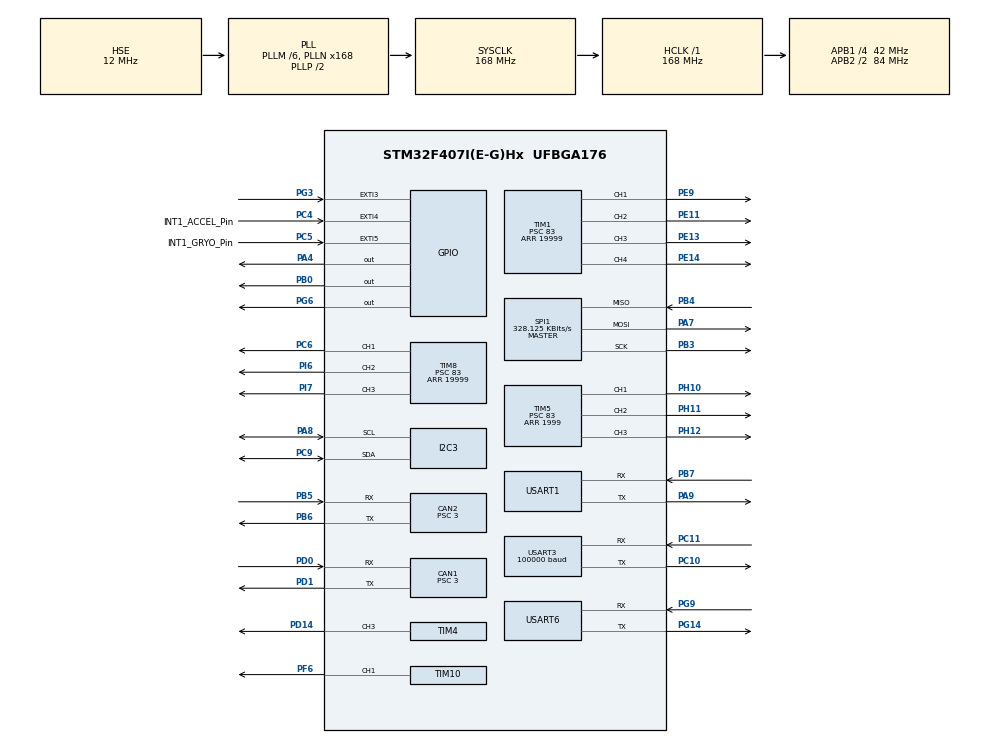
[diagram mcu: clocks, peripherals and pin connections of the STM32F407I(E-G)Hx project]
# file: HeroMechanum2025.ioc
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CAN1.BS1=CAN_BS1_10TQ
CAN1.BS2=CAN_BS2_3TQ
CAN1.CalculateBaudRate=1000000
CAN1.CalculateTimeBit=1000
CAN1.CalculateTimeQuantum=71.42857142857143
CAN1.Prescaler=3
CAN2.BS1=CAN_BS1_10TQ
CAN2.BS2=CAN_BS2_3TQ
CAN2.CalculateBaudRate=1000000
CAN2.CalculateTimeBit=1000
CAN2.CalculateTimeQuantum=71.42857142857143
CAN2.Prescaler=3
Dma.Request0=USART3_RX
Dma.Request1=USART1_TX
Dma.Request2=USART1_RX
Dma.Request3=USART6_RX
Dma.Request4=USART6_TX
Dma.Request5=TIM4_CH3
Dma.Request6=TIM5_CH1
Dma.Request7=TIM5_CH2
Dma.TIM4_CH3.5.Direction=DMA_PERIPH_TO_MEMORY
Dma.TIM4_CH3.5.FIFOMode=DMA_FIFOMODE_DISABLE
Dma.TIM4_CH3.5.Instance=DMA1_Stream7
Dma.TIM4_CH3.5.MemDataAlignment=DMA_MDATAALIGN_HALFWORD
Dma.TIM4_CH3.5.MemInc=DMA_MINC_ENABLE
Dma.TIM4_CH3.5.Mode=DMA_NORMAL
Dma.TIM4_CH3.5.PeriphDataAlignment=DMA_PDATAALIGN_HALFWORD
Dma.TIM4_CH3.5.PeriphInc=DMA_PINC_DISABLE
Dma.TIM4_CH3.5.Priority=DMA_PRIORITY_LOW
Dma.TIM5_CH1.6.Direction=DMA_PERIPH_TO_MEMORY
Dma.TIM5_CH1.6.FIFOMode=DMA_FIFOMODE_DISABLE
Dma.TIM5_CH1.6.Instance=DMA1_Stream2
Dma.TIM5_CH1.6.MemDataAlignment=DMA_MDATAALIGN_WORD
Dma.TIM5_CH1.6.MemInc=DMA_MINC_ENABLE
Dma.TIM5_CH1.6.Mode=DMA_NORMAL
Dma.TIM5_CH1.6.PeriphDataAlignment=DMA_PDATAALIGN_WORD
Dma.TIM5_CH1.6.PeriphInc=DMA_PINC_DISABLE
Dma.TIM5_CH1.6.Priority=DMA_PRIORITY_LOW
Dma.TIM5_CH2.7.Direction=DMA_PERIPH_TO_MEMORY
Dma.TIM5_CH2.7.FIFOMode=DMA_FIFOMODE_DISABLE
Dma.TIM5_CH2.7.Instance=DMA1_Stream4
Dma.TIM5_CH2.7.MemDataAlignment=DMA_MDATAALIGN_WORD
Dma.TIM5_CH2.7.MemInc=DMA_MINC_ENABLE
Dma.TIM5_CH2.7.Mode=DMA_NORMAL
Dma.TIM5_CH2.7.PeriphDataAlignment=DMA_PDATAALIGN_WORD
Dma.TIM5_CH2.7.PeriphInc=DMA_PINC_DISABLE
Dma.TIM5_CH2.7.Priority=DMA_PRIORITY_LOW
Dma.USART1_RX.2.Direction=DMA_PERIPH_TO_MEMORY
Dma.USART1_RX.2.FIFOMode=DMA_FIFOMODE_DISABLE
Dma.USART1_RX.2.Instance=DMA2_Stream2
Dma.USART1_RX.2.MemDataAlignment=DMA_MDATAALIGN_BYTE
Dma.USART1_RX.2.MemInc=DMA_MINC_ENABLE
Dma.USART1_RX.2.Mode=DMA_NORMAL
Dma.USART1_RX.2.PeriphDataAlignment=DMA_PDATAALIGN_BYTE
Dma.USART1_RX.2.PeriphInc=DMA_PINC_DISABLE
Dma.USART1_RX.2.Priority=DMA_PRIORITY_VERY_HIGH
Dma.USART1_TX.1.Direction=DMA_MEMORY_TO_PERIPH
Dma.USART1_TX.1.FIFOMode=DMA_FIFOMODE_DISABLE
Dma.USART1_TX.1.Instance=DMA2_Stream7
Dma.USART1_TX.1.MemDataAlignment=DMA_MDATAALIGN_BYTE
Dma.USART1_TX.1.MemInc=DMA_MINC_ENABLE
Dma.USART1_TX.1.Mode=DMA_NORMAL
Dma.USART1_TX.1.PeriphDataAlignment=DMA_PDATAALIGN_BYTE
Dma.USART1_TX.1.PeriphInc=DMA_PINC_DISABLE
Dma.USART1_TX.1.Priority=DMA_PRIORITY_VERY_HIGH
Dma.USART3_RX.0.Direction=DMA_PERIPH_TO_MEMORY
Dma.USART3_RX.0.FIFOMode=DMA_FIFOMODE_DISABLE
Dma.USART3_RX.0.Instance=DMA1_Stream1
Dma.USART3_RX.0.MemDataAlignment=DMA_MDATAALIGN_BYTE
Dma.USART3_RX.0.MemInc=DMA_MINC_ENABLE
Dma.USART3_RX.0.Mode=DMA_CIRCULAR
Dma.USART3_RX.0.PeriphDataAlignment=DMA_PDATAALIGN_BYTE
Dma.USART3_RX.0.PeriphInc=DMA_PINC_DISABLE
Dma.USART3_RX.0.Priority=DMA_PRIORITY_VERY_HIGH
Dma.USART6_RX.3.Direction=DMA_PERIPH_TO_MEMORY
Dma.USART6_RX.3.FIFOMode=DMA_FIFOMODE_DISABLE
Dma.USART6_RX.3.Instance=DMA2_Stream1
Dma.USART6_RX.3.MemDataAlignment=DMA_MDATAALIGN_BYTE
Dma.USART6_RX.3.MemInc=DMA_MINC_ENABLE
Dma.USART6_RX.3.Mode=DMA_NORMAL
Dma.USART6_RX.3.PeriphDataAlignment=DMA_PDATAALIGN_BYTE
Dma.USART6_RX.3.PeriphInc=DMA_PINC_DISABLE
Dma.USART6_RX.3.Priority=DMA_PRIORITY_VERY_HIGH
Dma.USART6_TX.4.Direction=DMA_MEMORY_TO_PERIPH
Dma.USART6_TX.4.FIFOMode=DMA_FIFOMODE_DISABLE
Dma.USART6_TX.4.Instance=DMA2_Stream6
Dma.USART6_TX.4.MemDataAlignment=DMA_MDATAALIGN_BYTE
Dma.USART6_TX.4.MemInc=DMA_MINC_ENABLE
Dma.USART6_TX.4.Mode=DMA_NORMAL
Dma.USART6_TX.4.PeriphDataAlignment=DMA_PDATAALIGN_BYTE
Dma.USART6_TX.4.PeriphInc=DMA_PINC_DISABLE
Dma.USART6_TX.4.Priority=DMA_PRIORITY_VERY_HIGH
FREERTOS.INCLUDE_pcTaskGetTaskName=1
FREERTOS.INCLUDE_xTaskGetHandle=1
FREERTOS.Tasks01=defaultTask,32,1024,TaskMain,Default,NULL,Dynamic,NULL,NULL;chassisTask,40,1124,TaskChassis,Default,NULL,Dynamic,NULL,NULL;IMUtempPIDtask,24,512,imu_temp_control_task,As weak,NULL,Dynamic,NULL,NULL;turretTask,40,1024,TaskTurret,Default,NULL,Dynamic,NULL,NULL
FREERTOS.configUSE_NEWLIB_REENTRANT=1
I2C3.I2C_Mode=I2C_Fast
Mcu.Family=STM32F4
Mcu.Name=STM32F407I(E-G)Hx
Mcu.Package=UFBGA176
NVIC.CAN1_RX0_IRQn=true\:5\:0\:false\:false\:true\:true\:true\:true\:true
NVIC.CAN2_RX0_IRQn=true\:5\:0\:false\:false\:true\:true\:true\:true\:true
NVIC.DMA1_Stream1_IRQn=true\:5\:0\:false\:false\:true\:true\:false\:true\:true
NVIC.DMA1_Stream2_IRQn=true\:5\:0\:false\:false\:true\:true\:false\:true\:true
NVIC.DMA1_Stream4_IRQn=true\:5\:0\:false\:false\:true\:true\:false\:true\:true
NVIC.DMA1_Stream7_IRQn=true\:5\:0\:false\:false\:true\:true\:false\:true\:true
NVIC.DMA2_Stream1_IRQn=true\:5\:0\:false\:false\:true\:true\:false\:true\:true
NVIC.DMA2_Stream2_IRQn=true\:5\:0\:false\:false\:true\:true\:false\:true\:true
NVIC.DMA2_Stream6_IRQn=true\:5\:0\:false\:false\:true\:true\:false\:true\:true
NVIC.DMA2_Stream7_IRQn=true\:5\:0\:false\:false\:true\:true\:false\:true\:true
NVIC.EXTI3_IRQn=true\:5\:0\:false\:false\:true\:true\:true\:true\:true
NVIC.EXTI4_IRQn=true\:5\:0\:false\:false\:true\:true\:true\:true\:true
NVIC.PriorityGroup=NVIC_PRIORITYGROUP_4
NVIC.USART1_IRQn=true\:5\:0\:false\:false\:true\:true\:true\:true\:true
NVIC.USART3_IRQn=true\:5\:0\:false\:false\:false\:true\:true\:true\:true
NVIC.USART6_IRQn=true\:5\:0\:false\:false\:true\:true\:true\:true\:true
PA13.Mode=Serial_Wire
PA13.Signal=SYS_JTMS-SWDIO
PA14.Mode=Serial_Wire
PA14.Signal=SYS_JTCK-SWCLK
PA4.Signal=GPIO_Output
PA7.Mode=Full_Duplex_Master
PA7.Signal=SPI1_MOSI
PA8.Mode=I2C
PA8.Signal=I2C3_SCL
PA9.Mode=Asynchronous
PA9.Signal=USART1_TX
PB0.Signal=GPIO_Output
PB3.Mode=Full_Duplex_Master
PB3.Signal=SPI1_SCK
PB4.Mode=Full_Duplex_Master
PB4.Signal=SPI1_MISO
PB5.Mode=CAN_Activate
PB5.Signal=CAN2_RX
PB6.Mode=CAN_Activate
PB6.Signal=CAN2_TX
PB7.Mode=Asynchronous
PB7.Signal=USART1_RX
PC10.Mode=Asynchronous
PC10.Signal=USART3_TX
PC11.Mode=Asynchronous
PC11.Signal=USART3_RX
PC4.GPIO_Label=INT1_ACCEL_Pin
PC4.Signal=GPXTI4
PC5.GPIO_Label=INT1_GRYO_Pin
PC5.Signal=GPXTI5
PC6.Signal=S_TIM8_CH1
PC9.Mode=I2C
PC9.Signal=I2C3_SDA
PD0.Mode=CAN_Activate
PD0.Signal=CAN1_RX
PD1.Mode=CAN_Activate
PD1.Signal=CAN1_TX
PD14.Signal=S_TIM4_CH3
PE11.Signal=S_TIM1_CH2
PE13.Signal=S_TIM1_CH3
PE14.Signal=S_TIM1_CH4
PE9.Signal=S_TIM1_CH1
PF6.GPIO_PuPd=GPIO_PULLUP
PF6.GPIO_Speed=GPIO_SPEED_FREQ_HIGH
PF6.Signal=S_TIM10_CH1
PG14.Mode=Asynchronous
PG14.Signal=USART6_TX
PG3.Signal=GPXTI3
PG6.Signal=GPIO_Output
PG9.Mode=Asynchronous
PG9.Signal=USART6_RX
PH0-OSC_IN.Mode=HSE-External-Oscillator
PH0-OSC_IN.Signal=RCC_OSC_IN
PH1-OSC_OUT.Mode=HSE-External-Oscillator
PH1-OSC_OUT.Signal=RCC_OSC_OUT
PH10.Signal=S_TIM5_CH1
PH11.Signal=S_TIM5_CH2
PH12.Signal=S_TIM5_CH3
PI6.Signal=S_TIM8_CH2
PI7.Signal=S_TIM8_CH3
ProjectManager.HeapSize=0x200
ProjectManager.StackSize=0x400
ProjectManager.TargetToolchain=STM32CubeIDE
RCC.48MHZClocksFreq_Value=84000000
RCC.AHBFreq_Value=168000000
RCC.APB1CLKDivider=RCC_HCLK_DIV4
RCC.APB1Freq_Value=42000000
RCC.APB1TimFreq_Value=84000000
RCC.APB2CLKDivider=RCC_HCLK_DIV2
RCC.APB2Freq_Value=84000000
RCC.APB2TimFreq_Value=168000000
RCC.CortexFreq_Value=168000000
RCC.EnbaleCSS=true
RCC.HCLKFreq_Value=168000000
RCC.HSE_VALUE=12000000
RCC.HSI_VALUE=16000000
RCC.LSE_VALUE=32768
RCC.PLLM=6
RCC.PLLN=168
RCC.PLLSourceVirtual=RCC_PLLSOURCE_HSE
RCC.SYSCLKFreq_VALUE=168000000
RCC.SYSCLKSource=RCC_SYSCLKSOURCE_PLLCLK
RCC.VCOOutputFreq_Value=336000000
SH.S_TIM10_CH1.0=TIM10_CH1,PWM Generation1 CH1
SH.S_TIM1_CH1.0=TIM1_CH1,PWM Generation1 CH1
SH.S_TIM1_CH2.0=TIM1_CH2,PWM Generation2 CH2
SH.S_TIM1_CH3.0=TIM1_CH3,PWM Generation3 CH3
SH.S_TIM1_CH4.0=TIM1_CH4,PWM Generation4 CH4
SH.S_TIM4_CH3.0=TIM4_CH3,PWM Generation3 CH3
SH.S_TIM5_CH1.0=TIM5_CH1,PWM Generation1 CH1
SH.S_TIM5_CH2.0=TIM5_CH2,PWM Generation2 CH2
SH.S_TIM5_CH3.0=TIM5_CH3,PWM Generation3 CH3
SH.S_TIM8_CH1.0=TIM8_CH1,PWM Generation1 CH1
SH.S_TIM8_CH2.0=TIM8_CH2,PWM Generation2 CH2
SH.S_TIM8_CH3.0=TIM8_CH3,PWM Generation3 CH3
SPI1.BaudRatePrescaler=SPI_BAUDRATEPRESCALER_256
SPI1.CLKPhase=SPI_PHASE_2EDGE
SPI1.CLKPolarity=SPI_POLARITY_HIGH
SPI1.CalculateBaudRate=328.125 KBits/s
SPI1.Direction=SPI_DIRECTION_2LINES
SPI1.Mode=SPI_MODE_MASTER
SPI1.VirtualType=VM_MASTER
TIM1.AutoReloadPreload=TIM_AUTORELOAD_PRELOAD_DISABLE
TIM1.Channel-PWM\ Generation1\ CH1=TIM_CHANNEL_1
TIM1.Channel-PWM\ Generation2\ CH2=TIM_CHANNEL_2
TIM1.Channel-PWM\ Generation3\ CH3=TIM_CHANNEL_3
TIM1.Channel-PWM\ Generation4\ CH4=TIM_CHANNEL_4
TIM1.Period=19999
TIM1.Prescaler=83
TIM1.Pulse-PWM\ Generation1\ CH1=0
TIM10.Channel=TIM_CHANNEL_1
TIM10.Period=4999
TIM4.AutoReloadPreload=TIM_AUTORELOAD_PRELOAD_ENABLE
TIM4.Channel-PWM\ Generation3\ CH3=TIM_CHANNEL_3
TIM4.Period=20999
TIM4.Prescaler=83
TIM4.Pulse-PWM\ Generation3\ CH3=10499
TIM5.Channel-PWM\ Generation1\ CH1=TIM_CHANNEL_1
TIM5.Channel-PWM\ Generation2\ CH2=TIM_CHANNEL_2
TIM5.Channel-PWM\ Generation3\ CH3=TIM_CHANNEL_3
TIM5.Period=1999
TIM5.Prescaler=83
TIM8.AutoReloadPreload=TIM_AUTORELOAD_PRELOAD_ENABLE
TIM8.Channel-PWM\ Generation1\ CH1=TIM_CHANNEL_1
TIM8.Channel-PWM\ Generation2\ CH2=TIM_CHANNEL_2
TIM8.Channel-PWM\ Generation3\ CH3=TIM_CHANNEL_3
TIM8.Period=19999
TIM8.Prescaler=83
USART1.VirtualMode=VM_ASYNC
USART3.BaudRate=100000
USART3.Parity=PARITY_EVEN
USART3.VirtualMode=VM_ASYNC
USART6.VirtualMode=VM_ASYNC
VP_FREERTOS_VS_CMSIS_V2.Mode=CMSIS_V2
VP_TIM10_VS_ClockSourceINT.Mode=Enable_Timer
VP_TIM4_VS_ClockSourceINT.Mode=Internal
board=custom

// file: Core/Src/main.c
/* USER CODE BEGIN Header */
/**
  ******************************************************************************
  * @file           : main.c
  * @brief          : Main program body
  ******************************************************************************
  * @attention
  *
  * Copyright (c) 2024 STMicroelectronics.
  * All rights reserved.
  *
  * This software is licensed under terms that can be found in the LICENSE file
  * in the root directory of this software component.
  * If no LICENSE file comes with this software, it is provided AS-IS.
  *
  ******************************************************************************
  */
/* USER CODE END Header */
#include "main.h"
#include "cmsis_os.h"

/* USER CODE BEGIN Includes */
//#include "CAN_receive.h"
#include "CAN.h"
#include "bsp_can.h"
#include "remote_control.h"
#include "bsp_rc.h"
#include "UART.h"
#include "stdio.h"
#include "stdarg.h"
#include "string.h"
#include "BMI088driver.h"
#include "pid.h"
#include "bsp_imu_pwm.h"
#include "ist8310driver.h"
#include "pwm.h"
#include "songs.h"
#include "buffer.h"
#include "math.h"
#include "driving.h"
#include "I2C.h"
/* USER CODE END Includes */

CAN_HandleTypeDef hcan1;
CAN_HandleTypeDef hcan2;

I2C_HandleTypeDef hi2c3;

SPI_HandleTypeDef hspi1;

TIM_HandleTypeDef htim1;
TIM_HandleTypeDef htim4;
TIM_HandleTypeDef htim5;
TIM_HandleTypeDef htim8;
TIM_HandleTypeDef htim10;
DMA_HandleTypeDef hdma_tim4_ch3;
DMA_HandleTypeDef hdma_tim5_ch1;
DMA_HandleTypeDef hdma_tim5_ch2;

UART_HandleTypeDef huart1;
UART_HandleTypeDef huart3;
UART_HandleTypeDef huart6;
DMA_HandleTypeDef hdma_usart1_tx;
DMA_HandleTypeDef hdma_usart1_rx;
DMA_HandleTypeDef hdma_usart3_rx;
DMA_HandleTypeDef hdma_usart6_rx;
DMA_HandleTypeDef hdma_usart6_tx;

/* Definitions for defaultTask */
osThreadId_t defaultTaskHandle;
const osThreadAttr_t defaultTask_attributes = {
  .name = "defaultTask",
  .stack_size = 1024 * 4,
  .priority = (osPriority_t) osPriorityAboveNormal,
};
/* Definitions for chassisTask */
osThreadId_t chassisTaskHandle;
const osThreadAttr_t chassisTask_attributes = {
  .name = "chassisTask",
  .stack_size = 1124 * 4,
  .priority = (osPriority_t) osPriorityHigh,
};
/* Definitions for IMUtempPIDtask */
osThreadId_t IMUtempPIDtaskHandle;
const osThreadAttr_t IMUtempPIDtask_attributes = {
  .name = "IMUtempPIDtask",
  .stack_size = 512 * 4,
  .priority = (osPriority_t) osPriorityNormal,
};
/* Definitions for turretTask */
osThreadId_t turretTaskHandle;
const osThreadAttr_t turretTask_attributes = {
  .name = "turretTask",
  .stack_size = 1024 * 4,
  .priority = (osPriority_t) osPriorityHigh,
};
/* USER CODE BEGIN PV */
const RC_ctrl_t *local_rc_ctrl;
//3.6 0.015, 4.2
PID_preset_t chassisPreset = {3.6, 0, 0};  //0.8f, 0.025f, 0.95f   {1.6, 0.045, 0.10}; 32 0.4
PID_preset_t yawPresetCurrentRPM = {46, 10.0, 16.4};

PID_preset_t yawPresetVoltageRPM = {25.0, 0.0, 0.0};

PID_preset_t yawPresetCurrentPosition = {12, 1, 0.0};
PID_preset_t yawPresetVoltagePosition = {36, 0.3, 0.0};

int16_t joystickTunner = 0;

// 50, 0, 110
PID_preset_t pitchPresetVoltagePosition = {70.0, 0.0, 421.0};
PID_preset_t indexerPreset = {1.1f, 0.02f, -2.4f};
PID_preset_t shooterPreset = {1.20f, 0.12f, 1.60f};
PID_preset_t powerPreset = {0, 0.000000000001, 0};
PID_preset_t flywheel = {12, 0, 0};
PID_preset_t customPreset = {0, 0, 0};

const int16_t maxValAllowed = 800;

extern game_status_t game_status;
extern power_heat_data_t power_heat_data;
extern robot_status_t robot_status;
extern pc_control_t pc_control;

float calcChassisPower = 0;

/* USER CODE END PV */

void SystemClock_Config(void);
static void MX_GPIO_Init(void);
static void MX_DMA_Init(void);
static void MX_CAN1_Init(void);
static void MX_CAN2_Init(void);
static void MX_SPI1_Init(void);
static void MX_TIM4_Init(void);
static void MX_USART1_UART_Init(void);
static void MX_USART6_UART_Init(void);
static void MX_TIM1_Init(void);
static void MX_TIM8_Init(void);
static void MX_USART3_UART_Init(void);
static void MX_TIM10_Init(void);
static void MX_I2C3_Init(void);
static void MX_TIM5_Init(void);
void TaskMain(void *argument);
void TaskChassis(void *argument);
void imu_temp_control_task(void *argument);
void TaskTurret(void *argument);

int main(void)
{

  /* MCU Configuration--------------------------------------------------------*/

  /* Reset of all peripherals, Initializes the Flash interface and the Systick. */
  HAL_Init();

  /* Configure the system clock */
  SystemClock_Config();

  /* Initialize all configured peripherals */
  MX_GPIO_Init();
  MX_DMA_Init();
  MX_CAN1_Init();
  MX_CAN2_Init();
  MX_SPI1_Init();
  MX_TIM4_Init();
  MX_USART1_UART_Init();
  MX_USART6_UART_Init();
  MX_TIM1_Init();
  MX_TIM8_Init();
  MX_USART3_UART_Init();
  MX_TIM10_Init();
  MX_I2C3_Init();
  MX_TIM5_Init();
  /* USER CODE BEGIN 2 */
  can_filter_init();
  remote_control_init();
  usart_Init();
  local_rc_ctrl = get_remote_control_point();
  //__HAL_UART_ENABLE_IT(&huart1,UART_IT_IDLE);
  /* USER CODE END 2 */

  /* Init scheduler */
  osKernelInitialize();

  /* Create the thread(s) */
  /* creation of defaultTask */
  defaultTaskHandle = osThreadNew(TaskMain, NULL, &defaultTask_attributes);

  /* creation of chassisTask */
  chassisTaskHandle = osThreadNew(TaskChassis, NULL, &chassisTask_attributes);

  /* creation of IMUtempPIDtask */
  IMUtempPIDtaskHandle = osThreadNew(imu_temp_control_task, NULL, &IMUtempPIDtask_attributes);

  /* creation of turretTask */
  turretTaskHandle = osThreadNew(TaskTurret, NULL, &turretTask_attributes);

  /* Start scheduler */
  osKernelStart();

  /* We should never get here as control is now taken by the scheduler */

  /* Infinite loop */
  while (1)
  {

  }
}

void SystemClock_Config(void)
{
  RCC_OscInitTypeDef RCC_OscInitStruct = {0};
  RCC_ClkInitTypeDef RCC_ClkInitStruct = {0};

  /** Configure the main internal regulator output voltage
  */
  __HAL_RCC_PWR_CLK_ENABLE();
  __HAL_PWR_VOLTAGESCALING_CONFIG(PWR_REGULATOR_VOLTAGE_SCALE1);

  /** Initializes the RCC Oscillators according to the specified parameters
  * in the RCC_OscInitTypeDef structure.
  */
  RCC_OscInitStruct.OscillatorType = RCC_OSCILLATORTYPE_HSE;
  RCC_OscInitStruct.HSEState = RCC_HSE_ON;
  RCC_OscInitStruct.PLL.PLLState = RCC_PLL_ON;
  RCC_OscInitStruct.PLL.PLLSource = RCC_PLLSOURCE_HSE;
  RCC_OscInitStruct.PLL.PLLM = 6;
  RCC_OscInitStruct.PLL.PLLN = 168;
  RCC_OscInitStruct.PLL.PLLP = RCC_PLLP_DIV2;
  RCC_OscInitStruct.PLL.PLLQ = 4;
  if (HAL_RCC_OscConfig(&RCC_OscInitStruct) != HAL_OK)
  {
    Error_Handler();
  }

  /** Initializes the CPU, AHB and APB buses clocks
  */
  RCC_ClkInitStruct.ClockType = RCC_CLOCKTYPE_HCLK|RCC_CLOCKTYPE_SYSCLK
                              |RCC_CLOCKTYPE_PCLK1|RCC_CLOCKTYPE_PCLK2;
  RCC_ClkInitStruct.SYSCLKSource = RCC_SYSCLKSOURCE_PLLCLK;
  RCC_ClkInitStruct.AHBCLKDivider = RCC_SYSCLK_DIV1;
  RCC_ClkInitStruct.APB1CLKDivider = RCC_HCLK_DIV4;
  RCC_ClkInitStruct.APB2CLKDivider = RCC_HCLK_DIV2;

  if (HAL_RCC_ClockConfig(&RCC_ClkInitStruct, FLASH_LATENCY_5) != HAL_OK)
  {
    Error_Handler();
  }

  /** Enables the Clock Security System
  */
  HAL_RCC_EnableCSS();
}

static void MX_CAN1_Init(void)
{

  hcan1.Instance = CAN1;
  hcan1.Init.Prescaler = 3;
  hcan1.Init.Mode = CAN_MODE_NORMAL;
  hcan1.Init.SyncJumpWidth = CAN_SJW_1TQ;
  hcan1.Init.TimeSeg1 = CAN_BS1_10TQ;
  hcan1.Init.TimeSeg2 = CAN_BS2_3TQ;
  hcan1.Init.TimeTriggeredMode = DISABLE;
  hcan1.Init.AutoBusOff = DISABLE;
  hcan1.Init.AutoWakeUp = DISABLE;
  hcan1.Init.AutoRetransmission = DISABLE;
  hcan1.Init.ReceiveFifoLocked = DISABLE;
  hcan1.Init.TransmitFifoPriority = DISABLE;
  if (HAL_CAN_Init(&hcan1) != HAL_OK)
  {
    Error_Handler();
  }

}

static void MX_CAN2_Init(void)
{

  hcan2.Instance = CAN2;
  hcan2.Init.Prescaler = 3;
  hcan2.Init.Mode = CAN_MODE_NORMAL;
  hcan2.Init.SyncJumpWidth = CAN_SJW_1TQ;
  hcan2.Init.TimeSeg1 = CAN_BS1_10TQ;
  hcan2.Init.TimeSeg2 = CAN_BS2_3TQ;
  hcan2.Init.TimeTriggeredMode = DISABLE;
  hcan2.Init.AutoBusOff = DISABLE;
  hcan2.Init.AutoWakeUp = DISABLE;
  hcan2.Init.AutoRetransmission = DISABLE;
  hcan2.Init.ReceiveFifoLocked = DISABLE;
  hcan2.Init.TransmitFifoPriority = DISABLE;
  if (HAL_CAN_Init(&hcan2) != HAL_OK)
  {
    Error_Handler();
  }

}

static void MX_I2C3_Init(void)
{

  hi2c3.Instance = I2C3;
  hi2c3.Init.ClockSpeed = 400000;
  hi2c3.Init.DutyCycle = I2C_DUTYCYCLE_2;
  hi2c3.Init.OwnAddress1 = 0;
  hi2c3.Init.AddressingMode = I2C_ADDRESSINGMODE_7BIT;
  hi2c3.Init.DualAddressMode = I2C_DUALADDRESS_DISABLE;
  hi2c3.Init.OwnAddress2 = 0;
  hi2c3.Init.GeneralCallMode = I2C_GENERALCALL_DISABLE;
  hi2c3.Init.NoStretchMode = I2C_NOSTRETCH_DISABLE;
  if (HAL_I2C_Init(&hi2c3) != HAL_OK)
  {
    Error_Handler();
  }

}

static void MX_SPI1_Init(void)
{

  /* SPI1 parameter configuration*/
  hspi1.Instance = SPI1;
  hspi1.Init.Mode = SPI_MODE_MASTER;
  hspi1.Init.Direction = SPI_DIRECTION_2LINES;
  hspi1.Init.DataSize = SPI_DATASIZE_8BIT;
  hspi1.Init.CLKPolarity = SPI_POLARITY_HIGH;
  hspi1.Init.CLKPhase = SPI_PHASE_2EDGE;
  hspi1.Init.NSS = SPI_NSS_SOFT;
  hspi1.Init.BaudRatePrescaler = SPI_BAUDRATEPRESCALER_256;
  hspi1.Init.FirstBit = SPI_FIRSTBIT_MSB;
  hspi1.Init.TIMode = SPI_TIMODE_DISABLE;
  hspi1.Init.CRCCalculation = SPI_CRCCALCULATION_DISABLE;
  hspi1.Init.CRCPolynomial = 10;
  if (HAL_SPI_Init(&hspi1) != HAL_OK)
  {
    Error_Handler();
  }

}

static void MX_TIM1_Init(void)
{

  TIM_MasterConfigTypeDef sMasterConfig = {0};
  TIM_OC_InitTypeDef sConfigOC = {0};
  TIM_BreakDeadTimeConfigTypeDef sBreakDeadTimeConfig = {0};

  htim1.Instance = TIM1;
  htim1.Init.Prescaler = 83;
  htim1.Init.CounterMode = TIM_COUNTERMODE_UP;
  htim1.Init.Period = 19999;
  htim1.Init.ClockDivision = TIM_CLOCKDIVISION_DIV1;
  htim1.Init.RepetitionCounter = 0;
  htim1.Init.AutoReloadPreload = TIM_AUTORELOAD_PRELOAD_DISABLE;
  if (HAL_TIM_PWM_Init(&htim1) != HAL_OK)
  {
    Error_Handler();
  }
  sMasterConfig.MasterOutputTrigger = TIM_TRGO_RESET;
  sMasterConfig.MasterSlaveMode = TIM_MASTERSLAVEMODE_DISABLE;
  if (HAL_TIMEx_MasterConfigSynchronization(&htim1, &sMasterConfig) != HAL_OK)
  {
    Error_Handler();
  }
  sConfigOC.OCMode = TIM_OCMODE_PWM1;
  sConfigOC.Pulse = 0;
  sConfigOC.OCPolarity = TIM_OCPOLARITY_HIGH;
  sConfigOC.OCNPolarity = TIM_OCNPOLARITY_HIGH;
  sConfigOC.OCFastMode = TIM_OCFAST_DISABLE;
  sConfigOC.OCIdleState = TIM_OCIDLESTATE_RESET;
  sConfigOC.OCNIdleState = TIM_OCNIDLESTATE_RESET;
  if (HAL_TIM_PWM_ConfigChannel(&htim1, &sConfigOC, TIM_CHANNEL_1) != HAL_OK)
  {
    Error_Handler();
  }
  if (HAL_TIM_PWM_ConfigChannel(&htim1, &sConfigOC, TIM_CHANNEL_2) != HAL_OK)
  {
    Error_Handler();
  }
  if (HAL_TIM_PWM_ConfigChannel(&htim1, &sConfigOC, TIM_CHANNEL_3) != HAL_OK)
  {
    Error_Handler();
  }
  if (HAL_TIM_PWM_ConfigChannel(&htim1, &sConfigOC, TIM_CHANNEL_4) != HAL_OK)
  {
    Error_Handler();
  }
  sBreakDeadTimeConfig.OffStateRunMode = TIM_OSSR_DISABLE;
  sBreakDeadTimeConfig.OffStateIDLEMode = TIM_OSSI_DISABLE;
  sBreakDeadTimeConfig.LockLevel = TIM_LOCKLEVEL_OFF;
  sBreakDeadTimeConfig.DeadTime = 0;
  sBreakDeadTimeConfig.BreakState = TIM_BREAK_DISABLE;
  sBreakDeadTimeConfig.BreakPolarity = TIM_BREAKPOLARITY_HIGH;
  sBreakDeadTimeConfig.AutomaticOutput = TIM_AUTOMATICOUTPUT_DISABLE;
  if (HAL_TIMEx_ConfigBreakDeadTime(&htim1, &sBreakDeadTimeConfig) != HAL_OK)
  {
    Error_Handler();
  }
  HAL_TIM_MspPostInit(&htim1);

}

static void MX_TIM4_Init(void)
{

  TIM_ClockConfigTypeDef sClockSourceConfig = {0};
  TIM_MasterConfigTypeDef sMasterConfig = {0};
  TIM_OC_InitTypeDef sConfigOC = {0};

  htim4.Instance = TIM4;
  htim4.Init.Prescaler = 83;
  htim4.Init.CounterMode = TIM_COUNTERMODE_UP;
  htim4.Init.Period = 20999;
  htim4.Init.ClockDivision = TIM_CLOCKDIVISION_DIV1;
  htim4.Init.AutoReloadPreload = TIM_AUTORELOAD_PRELOAD_ENABLE;
  if (HAL_TIM_Base_Init(&htim4) != HAL_OK)
  {
    Error_Handler();
  }
  sClockSourceConfig.ClockSource = TIM_CLOCKSOURCE_INTERNAL;
  if (HAL_TIM_ConfigClockSource(&htim4, &sClockSourceConfig) != HAL_OK)
  {
    Error_Handler();
  }
  if (HAL_TIM_PWM_Init(&htim4) != HAL_OK)
  {
    Error_Handler();
  }
  sMasterConfig.MasterOutputTrigger = TIM_TRGO_RESET;
  sMasterConfig.MasterSlaveMode = TIM_MASTERSLAVEMODE_DISABLE;
  if (HAL_TIMEx_MasterConfigSynchronization(&htim4, &sMasterConfig) != HAL_OK)
  {
    Error_Handler();
  }
  sConfigOC.OCMode = TIM_OCMODE_PWM1;
  sConfigOC.Pulse = 10499;
  sConfigOC.OCPolarity = TIM_OCPOLARITY_HIGH;
  sConfigOC.OCFastMode = TIM_OCFAST_DISABLE;
  if (HAL_TIM_PWM_ConfigChannel(&htim4, &sConfigOC, TIM_CHANNEL_3) != HAL_OK)
  {
    Error_Handler();
  }
  HAL_TIM_MspPostInit(&htim4);

}

static void MX_TIM5_Init(void)
{

  TIM_MasterConfigTypeDef sMasterConfig = {0};
  TIM_OC_InitTypeDef sConfigOC = {0};

  htim5.Instance = TIM5;
  htim5.Init.Prescaler = 83;
  htim5.Init.CounterMode = TIM_COUNTERMODE_UP;
  htim5.Init.Period = 1999;
  htim5.Init.ClockDivision = TIM_CLOCKDIVISION_DIV1;
  htim5.Init.AutoReloadPreload = TIM_AUTORELOAD_PRELOAD_DISABLE;
  if (HAL_TIM_PWM_Init(&htim5) != HAL_OK)
  {
    Error_Handler();
  }
  sMasterConfig.MasterOutputTrigger = TIM_TRGO_RESET;
  sMasterConfig.MasterSlaveMode = TIM_MASTERSLAVEMODE_DISABLE;
  if (HAL_TIMEx_MasterConfigSynchronization(&htim5, &sMasterConfig) != HAL_OK)
  {
    Error_Handler();
  }
  sConfigOC.OCMode = TIM_OCMODE_PWM1;
  sConfigOC.Pulse = 0;
  sConfigOC.OCPolarity = TIM_OCPOLARITY_HIGH;
  sConfigOC.OCFastMode = TIM_OCFAST_DISABLE;
  if (HAL_TIM_PWM_ConfigChannel(&htim5, &sConfigOC, TIM_CHANNEL_1) != HAL_OK)
  {
    Error_Handler();
  }
  if (HAL_TIM_PWM_ConfigChannel(&htim5, &sConfigOC, TIM_CHANNEL_2) != HAL_OK)
  {
    Error_Handler();
  }
  if (HAL_TIM_PWM_ConfigChannel(&htim5, &sConfigOC, TIM_CHANNEL_3) != HAL_OK)
  {
    Error_Handler();
  }
  HAL_TIM_MspPostInit(&htim5);

}

static void MX_TIM8_Init(void)
{

  TIM_MasterConfigTypeDef sMasterConfig = {0};
  TIM_OC_InitTypeDef sConfigOC = {0};
  TIM_BreakDeadTimeConfigTypeDef sBreakDeadTimeConfig = {0};

  htim8.Instance = TIM8;
  htim8.Init.Prescaler = 83;
  htim8.Init.CounterMode = TIM_COUNTERMODE_UP;
  htim8.Init.Period = 19999;
  htim8.Init.ClockDivision = TIM_CLOCKDIVISION_DIV1;
  htim8.Init.RepetitionCounter = 0;
  htim8.Init.AutoReloadPreload = TIM_AUTORELOAD_PRELOAD_ENABLE;
  if (HAL_TIM_PWM_Init(&htim8) != HAL_OK)
  {
    Error_Handler();
  }
  sMasterConfig.MasterOutputTrigger = TIM_TRGO_RESET;
  sMasterConfig.MasterSlaveMode = TIM_MASTERSLAVEMODE_DISABLE;
  if (HAL_TIMEx_MasterConfigSynchronization(&htim8, &sMasterConfig) != HAL_OK)
  {
    Error_Handler();
  }
  sConfigOC.OCMode = TIM_OCMODE_PWM1;
  sConfigOC.Pulse = 0;
  sConfigOC.OCPolarity = TIM_OCPOLARITY_HIGH;
  sConfigOC.OCNPolarity = TIM_OCNPOLARITY_HIGH;
  sConfigOC.OCFastMode = TIM_OCFAST_DISABLE;
  sConfigOC.OCIdleState = TIM_OCIDLESTATE_RESET;
  sConfigOC.OCNIdleState = TIM_OCNIDLESTATE_RESET;
  if (HAL_TIM_PWM_ConfigChannel(&htim8, &sConfigOC, TIM_CHANNEL_1) != HAL_OK)
  {
    Error_Handler();
  }
  if (HAL_TIM_PWM_ConfigChannel(&htim8, &sConfigOC, TIM_CHANNEL_2) != HAL_OK)
  {
    Error_Handler();
  }
  if (HAL_TIM_PWM_ConfigChannel(&htim8, &sConfigOC, TIM_CHANNEL_3) != HAL_OK)
  {
    Error_Handler();
  }
  sBreakDeadTimeConfig.OffStateRunMode = TIM_OSSR_DISABLE;
  sBreakDeadTimeConfig.OffStateIDLEMode = TIM_OSSI_DISABLE;
  sBreakDeadTimeConfig.LockLevel = TIM_LOCKLEVEL_OFF;
  sBreakDeadTimeConfig.DeadTime = 0;
  sBreakDeadTimeConfig.BreakState = TIM_BREAK_DISABLE;
  sBreakDeadTimeConfig.BreakPolarity = TIM_BREAKPOLARITY_HIGH;
  sBreakDeadTimeConfig.AutomaticOutput = TIM_AUTOMATICOUTPUT_DISABLE;
  if (HAL_TIMEx_ConfigBreakDeadTime(&htim8, &sBreakDeadTimeConfig) != HAL_OK)
  {
    Error_Handler();
  }
  HAL_TIM_MspPostInit(&htim8);

}

static void MX_TIM10_Init(void)
{

  TIM_OC_InitTypeDef sConfigOC = {0};

  htim10.Instance = TIM10;
  htim10.Init.Prescaler = 0;
  htim10.Init.CounterMode = TIM_COUNTERMODE_UP;
  htim10.Init.Period = 4999;
  htim10.Init.ClockDivision = TIM_CLOCKDIVISION_DIV1;
  htim10.Init.AutoReloadPreload = TIM_AUTORELOAD_PRELOAD_DISABLE;
  if (HAL_TIM_Base_Init(&htim10) != HAL_OK)
  {
    Error_Handler();
  }
  if (HAL_TIM_PWM_Init(&htim10) != HAL_OK)
  {
    Error_Handler();
  }
  sConfigOC.OCMode = TIM_OCMODE_PWM1;
  sConfigOC.Pulse = 0;
  sConfigOC.OCPolarity = TIM_OCPOLARITY_HIGH;
  sConfigOC.OCFastMode = TIM_OCFAST_DISABLE;
  if (HAL_TIM_PWM_ConfigChannel(&htim10, &sConfigOC, TIM_CHANNEL_1) != HAL_OK)
  {
    Error_Handler();
  }
  HAL_TIM_MspPostInit(&htim10);

}

static void MX_USART1_UART_Init(void)
{

  huart1.Instance = USART1;
  huart1.Init.BaudRate = 115200;
  huart1.Init.WordLength = UART_WORDLENGTH_8B;
  huart1.Init.StopBits = UART_STOPBITS_1;
  huart1.Init.Parity = UART_PARITY_NONE;
  huart1.Init.Mode = UART_MODE_TX_RX;
  huart1.Init.HwFlowCtl = UART_HWCONTROL_NONE;
  huart1.Init.OverSampling = UART_OVERSAMPLING_16;
  if (HAL_UART_Init(&huart1) != HAL_OK)
  {
    Error_Handler();
  }

}

static void MX_USART3_UART_Init(void)
{

  huart3.Instance = USART3;
  huart3.Init.BaudRate = 100000;
  huart3.Init.WordLength = UART_WORDLENGTH_8B;
  huart3.Init.StopBits = UART_STOPBITS_1;
  huart3.Init.Parity = UART_PARITY_EVEN;
  huart3.Init.Mode = UART_MODE_TX_RX;
  huart3.Init.HwFlowCtl = UART_HWCONTROL_NONE;
  huart3.Init.OverSampling = UART_OVERSAMPLING_16;
  if (HAL_UART_Init(&huart3) != HAL_OK)
  {
    Error_Handler();
  }

}

static void MX_USART6_UART_Init(void)
{

  huart6.Instance = USART6;
  huart6.Init.BaudRate = 115200;
  huart6.Init.WordLength = UART_WORDLENGTH_8B;
  huart6.Init.StopBits = UART_STOPBITS_1;
  huart6.Init.Parity = UART_PARITY_NONE;
  huart6.Init.Mode = UART_MODE_TX_RX;
  huart6.Init.HwFlowCtl = UART_HWCONTROL_NONE;
  huart6.Init.OverSampling = UART_OVERSAMPLING_16;
  if (HAL_UART_Init(&huart6) != HAL_OK)
  {
    Error_Handler();
  }

}

static void MX_DMA_Init(void)
{

  /* DMA controller clock enable */
  __HAL_RCC_DMA1_CLK_ENABLE();
  __HAL_RCC_DMA2_CLK_ENABLE();

  /* DMA interrupt init */
  /* DMA1_Stream1_IRQn interrupt configuration */
  HAL_NVIC_SetPriority(DMA1_Stream1_IRQn, 5, 0);
  HAL_NVIC_EnableIRQ(DMA1_Stream1_IRQn);
  /* DMA1_Stream2_IRQn interrupt configuration */
  HAL_NVIC_SetPriority(DMA1_Stream2_IRQn, 5, 0);
  HAL_NVIC_EnableIRQ(DMA1_Stream2_IRQn);
  /* DMA1_Stream4_IRQn interrupt configuration */
  HAL_NVIC_SetPriority(DMA1_Stream4_IRQn, 5, 0);
  HAL_NVIC_EnableIRQ(DMA1_Stream4_IRQn);
  /* DMA1_Stream7_IRQn interrupt configuration */
  HAL_NVIC_SetPriority(DMA1_Stream7_IRQn, 5, 0);
  HAL_NVIC_EnableIRQ(DMA1_Stream7_IRQn);
  /* DMA2_Stream1_IRQn interrupt configuration */
  HAL_NVIC_SetPriority(DMA2_Stream1_IRQn, 5, 0);
  HAL_NVIC_EnableIRQ(DMA2_Stream1_IRQn);
  /* DMA2_Stream2_IRQn interrupt configuration */
  HAL_NVIC_SetPriority(DMA2_Stream2_IRQn, 5, 0);
  HAL_NVIC_EnableIRQ(DMA2_Stream2_IRQn);
  /* DMA2_Stream6_IRQn interrupt configuration */
  HAL_NVIC_SetPriority(DMA2_Stream6_IRQn, 5, 0);
  HAL_NVIC_EnableIRQ(DMA2_Stream6_IRQn);
  /* DMA2_Stream7_IRQn interrupt configuration */
  HAL_NVIC_SetPriority(DMA2_Stream7_IRQn, 5, 0);
  HAL_NVIC_EnableIRQ(DMA2_Stream7_IRQn);

}

static void MX_GPIO_Init(void)
{
  GPIO_InitTypeDef GPIO_InitStruct = {0};

  /* GPIO Ports Clock Enable */
  __HAL_RCC_GPIOB_CLK_ENABLE();
  __HAL_RCC_GPIOG_CLK_ENABLE();
  __HAL_RCC_GPIOA_CLK_ENABLE();
  __HAL_RCC_GPIOD_CLK_ENABLE();
  __HAL_RCC_GPIOC_CLK_ENABLE();
  __HAL_RCC_GPIOI_CLK_ENABLE();
  __HAL_RCC_GPIOH_CLK_ENABLE();
  __HAL_RCC_GPIOF_CLK_ENABLE();
  __HAL_RCC_GPIOE_CLK_ENABLE();

  /*Configure GPIO pin Output Level */
  HAL_GPIO_WritePin(GPIOG, GPIO_PIN_6, GPIO_PIN_RESET);

  /*Configure GPIO pin Output Level */
  HAL_GPIO_WritePin(GPIOA, GPIO_PIN_4, GPIO_PIN_RESET);

  /*Configure GPIO pin Output Level */
  HAL_GPIO_WritePin(GPIOB, GPIO_PIN_0, GPIO_PIN_RESET);

  /*Configure GPIO pin : PG6 */
  GPIO_InitStruct.Pin = GPIO_PIN_6;
  GPIO_InitStruct.Mode = GPIO_MODE_OUTPUT_PP;
  GPIO_InitStruct.Pull = GPIO_NOPULL;
  GPIO_InitStruct.Speed = GPIO_SPEED_FREQ_LOW;
  HAL_GPIO_Init(GPIOG, &GPIO_InitStruct);

  /*Configure GPIO pin : PG3 */
  GPIO_InitStruct.Pin = GPIO_PIN_3;
  GPIO_InitStruct.Mode = GPIO_MODE_IT_RISING;
  GPIO_InitStruct.Pull = GPIO_NOPULL;
  HAL_GPIO_Init(GPIOG, &GPIO_InitStruct);

  /*Configure GPIO pin : PA4 */
  GPIO_InitStruct.Pin = GPIO_PIN_4;
  GPIO_InitStruct.Mode = GPIO_MODE_OUTPUT_PP;
  GPIO_InitStruct.Pull = GPIO_NOPULL;
  GPIO_InitStruct.Speed = GPIO_SPEED_FREQ_LOW;
  HAL_GPIO_Init(GPIOA, &GPIO_InitStruct);

  /*Configure GPIO pins : INT1_ACCEL_Pin_Pin INT1_GRYO_Pin_Pin */
  GPIO_InitStruct.Pin = INT1_ACCEL_Pin_Pin|INT1_GRYO_Pin_Pin;
  GPIO_InitStruct.Mode = GPIO_MODE_IT_RISING;
  GPIO_InitStruct.Pull = GPIO_NOPULL;
  HAL_GPIO_Init(GPIOC, &GPIO_InitStruct);

  /*Configure GPIO pin : PB0 */
  GPIO_InitStruct.Pin = GPIO_PIN_0;
  GPIO_InitStruct.Mode = GPIO_MODE_OUTPUT_PP;
  GPIO_InitStruct.Pull = GPIO_NOPULL;
  GPIO_InitStruct.Speed = GPIO_SPEED_FREQ_LOW;
  HAL_GPIO_Init(GPIOB, &GPIO_InitStruct);

  /* EXTI interrupt init*/
  HAL_NVIC_SetPriority(EXTI3_IRQn, 5, 0);
  HAL_NVIC_EnableIRQ(EXTI3_IRQn);

  HAL_NVIC_SetPriority(EXTI4_IRQn, 5, 0);
  HAL_NVIC_EnableIRQ(EXTI4_IRQn);

}

/* USER CODE BEGIN 4 */

float determiningTrigAngle (int16_t motorAngle[5]) {
	if (motorAngle[0] < 0 && motorAngle[1] < 0) {
		return (-M_PI + atanf(((float)motorAngle[0])/((float)motorAngle[1])));
	} else if (motorAngle[0] >= 0 && motorAngle[1] < 0) {
		return (M_PI + atanf(((float)motorAngle[0])/((float)motorAngle[1])));
	} else if (motorAngle[0] == 0 && motorAngle[1] == 0) {
		return 0;
	} else {
		return atanf(((float)motorAngle[0])/((float)motorAngle[1]));
	}
}

int16_t wheelRotation (int16_t currentRotation, int16_t destinationRotation) {
	int8_t newTargetRotationCounter = 0;
	int16_t ACD = abs(destinationRotation - currentRotation);
	int16_t ALD = abs((destinationRotation - 8191) - currentRotation);
	int16_t AUD = abs((destinationRotation + 8191) - currentRotation);
	if (ACD < ALD && ACD < AUD) { // Normal Delta is best case
		newTargetRotationCounter = 0;
	} else if (ALD < ACD && ALD < AUD) { // Lower Delta (Flip) is best case
		newTargetRotationCounter = -1;
	} else { // Upper Delta is best case here
		newTargetRotationCounter = 1;
	}
    return ((destinationRotation + (8191*newTargetRotationCounter)) - currentRotation);
}

float swerveScaler (int16_t motorInfo[4][5]) {
	int16_t largestVal = 0;
	for (int8_t i = 0; i < 4; i++) {
		if (motorInfo[i][2] > largestVal) {
			largestVal = motorInfo[i][2];
		}
	}
	/*
	if (largestVal == 0) {
		usart_printf("ERROR_WITH_SCALER\r\n");
	}
	*/
	// usart_printf("Hello %d there!\r\n", 5);
	if (largestVal <= maxValAllowed) {
		return 1;
	} else {
		return ((float)(maxValAllowed)/(float)(largestVal));
	}
}

int16_t PD (MotorType_ID motorType, int16_t *previousDelta, int16_t currentDelta, float kP, float kD) {

	return applyCtrlLimit(motorType, (currentDelta*kP + (*previousDelta - currentDelta)*kD));
}

void fondlerAutoReverse (int8_t allVars[5], int8_t RCSwitch, int8_t M2006IDX, int8_t reverseRotation, PID_preset_t indexerPreset) {
	int16_t flywheelSpeed = getMotorRPM(Bus2, M3508, 1);
    if (((pc_control.left_button_down == 1) && (flywheelSpeed > 7000) && (allVars[4] == 0)) || (RCSwitch == 1)) {
    	// setMotorRPM(Bus2, M2006, 6, (100), indexerPreset);
    	allVars[0] = 1;

		if (allVars[3] > 0 && allVars[2] == 0) {
			setMotorRPM(Bus2, M3508, M2006IDX, reverseRotation*15000, indexerPreset);
			allVars[3]--;
		} else {
			allVars[2] = 0;
			// usart_printf("BeansOutput1\r\n");
			setMotorRPM(Bus2, M3508, M2006IDX, -270*6*reverseRotation, indexerPreset);
			if (reverseRotation == 1) {
				if (allVars[1] == 0 && getMotorRPM(Bus2, M3508, M2006IDX) <= -10) {
					allVars[1] = 1;
				} else if (getMotorRPM(Bus2, M3508, M2006IDX) > -1 && allVars[1] == 1) {         // jammed
					allVars[3] = 12;
					allVars[1] = 0;
				}
			} else {
				if (allVars[1] == 0 && getMotorRPM(Bus2, M3508, M2006IDX) >= 10) {
					allVars[1] = 1;
				} else if (getMotorRPM(Bus2, M3508, M2006IDX) < 1 && allVars[1] == 1) {         // jammed
					allVars[3] = 12;
					allVars[1] = 0;
				}
			}
		}
    } else {
    	allVars[0] = 0;
    	allVars[2] = 1;
    	allVars[1] = 0;
    	setMotorRPM(Bus2, M3508, M2006IDX, 0, indexerPreset);
    }
}

/* USER CODE END 4 */

void TaskMain(void *argument)
{
  /* USER CODE BEGIN 5 */
	for(;;) {
		osDelay(5);
		// setMotorRPM(Bus2, M3508, 5, -1000, fondler);
		// usart_printf("%d, %d, %d, %d, %d, %d, %d\r\n", getRCfakechannel(0), getRCfakechannel(1), getRCfakechannel(2), getRCfakechannel(3), getRCfakechannel(4), getRCfakechannel(5), getRCfakechannel(6));

	}
  /* USER CODE END 5 */
}

void TaskChassis(void *argument)
{
  /* USER CODE BEGIN TaskChassis */

	PWMInit(&htim1, &htim4, &htim5, &htim8);
	PID_preset_t fondler = {12.0, 0.0, 0.0};
	PID_preset_t driveWheel = {8.0, 0.0, 0.0};
	PID_preset_t turretRotation = {100.0, 0.0, 0.0};
	int8_t fondlerVars[5] = {0, 0, 0, 0, 0};

  /* Infinite loop */
    for(;;) {
		int16_t FB = getRCfakechannel(0);
		int16_t LR = getRCfakechannel(1);
		int16_t Rotate = getRCfakechannel(3);

		float wheelScaler = 6.8;
		/* ID REFERENCE FOR 3508s
		 FRONT

		4     1

		3     2

		 BACK
		 */

		int16_t M1 = wheelScaler*((-1*FB)+(1*LR)+(1*Rotate));
		int16_t M2 = wheelScaler*((-1*FB)+(-1*LR)+(1*Rotate));
		int16_t M3 = wheelScaler*((1*FB)+(-1*LR)+(1*Rotate));
		int16_t M4 = wheelScaler*((1*FB)+(1*LR)+(1*Rotate));

		setMotorRPM(Bus2, M3508, 1, M1, driveWheel);
		osDelay(1);
		setMotorRPM(Bus2, M3508, 2, M2, driveWheel);
		osDelay(1);
		setMotorRPM(Bus2, M3508, 3, M3, driveWheel);
		osDelay(1);
		setMotorRPM(Bus2, M3508, 4, M4, driveWheel);
		osDelay(1);

		setMotorRPM(Bus2, GM6020, 4, getRCfakechannel(4)*0.5, turretRotation);

		usart_printf("%d\r\n", getMotorRPM(Bus2, M3508, 5));
        if (getRCfakechannel(5) == 2) {
        	// setMotorRPM(Bus2, M3508, 5, -1000, fondler);
        	fondlerAutoReverse(fondlerVars, 1, 5, 1, fondler);
        } else {
        	fondlerAutoReverse(fondlerVars, 0, 5, 1, fondler);
        	// setMotorRPM(Bus2, M3508, 5, 0, fondler);
        }

        osDelay(1);

		PWMTimerStarter();
		RCkeysRefresh();
        osDelay(10);
    }

  /* USER CODE END TaskChassis */
}

__weak void imu_temp_control_task(void *argument)
{
  for(;;)
  {
    osDelay(1);
  }
}

void TaskTurret(void *argument)
{
  /* USER CODE BEGIN TaskTurret */
	// JoulesBuffer = 60;
  /* Infinite loop */
	for(;;)
	{
		osDelay(5);
	}
  /* USER CODE END TaskTurret */
}

void Error_Handler(void)
{
  __disable_irq();
  while (1)
  {
  }
}
